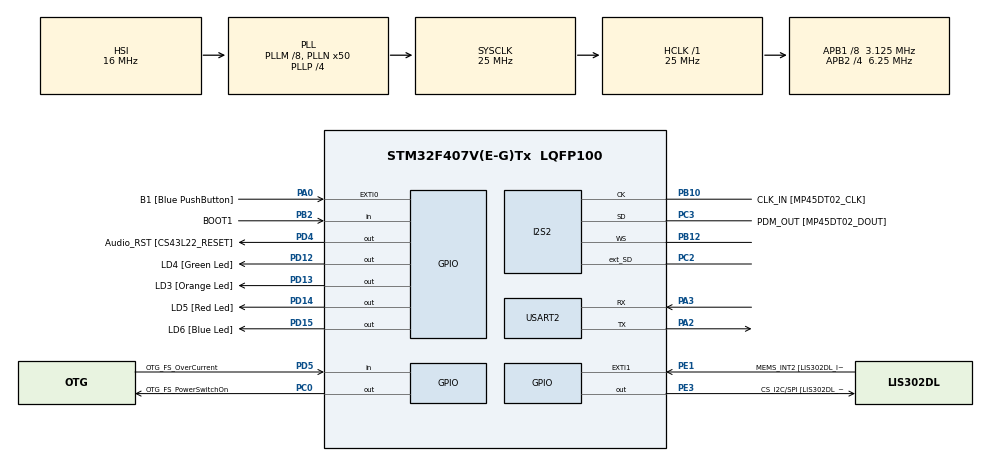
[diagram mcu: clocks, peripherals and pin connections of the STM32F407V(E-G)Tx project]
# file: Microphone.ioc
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I2S2.AudioFreq=I2S_AUDIOFREQ_32K
I2S2.ErrorAudioFreq=-0.26 %
I2S2.FullDuplexMode=I2S_FULLDUPLEXMODE_ENABLE
I2S2.Mode=I2S_MODE_MASTER_RX
I2S2.RealAudioFreq=31.914 KHz
Mcu.Family=STM32F4
Mcu.Name=STM32F407V(E-G)Tx
Mcu.Package=LQFP100
NVIC.PriorityGroup=NVIC_PRIORITYGROUP_0
NVIC.SPI2_IRQn=true\:0\:0\:false\:false\:true
PA0-WKUP.GPIO_Label=B1 [Blue PushButton]
PA0-WKUP.GPIO_ModeDefaultEXTI=GPIO_MODE_EVT_RISING
PA0-WKUP.GPIO_PuPd=GPIO_NOPULL
PA0-WKUP.Signal=GPXTI0
PA10.GPIO_Label=OTG_FS_ID
PA10.GPIO_Mode=GPIO_MODE_AF_PP
PA10.GPIO_PuPd=GPIO_NOPULL
PA10.GPIO_Speed=GPIO_SPEED_FREQ_LOW
PA10.Signal=USB_OTG_FS_ID
PA11.GPIO_Label=OTG_FS_DM
PA11.GPIO_Mode=GPIO_MODE_AF_PP
PA11.GPIO_PuPd=GPIO_NOPULL
PA11.GPIO_Speed=GPIO_SPEED_FREQ_LOW
PA11.Signal=USB_OTG_FS_DM
PA12.GPIO_Label=OTG_FS_DP
PA12.GPIO_Mode=GPIO_MODE_AF_PP
PA12.GPIO_PuPd=GPIO_NOPULL
PA12.GPIO_Speed=GPIO_SPEED_FREQ_LOW
PA12.Signal=USB_OTG_FS_DP
PA13.GPIO_Label=SWDIO
PA13.Signal=SYS_JTMS-SWDIO
PA14.GPIO_Label=SWCLK
PA14.Signal=SYS_JTCK-SWCLK
PA2.Mode=Asynchronous
PA2.Signal=USART2_TX
PA3.Mode=Asynchronous
PA3.Signal=USART2_RX
PA4.GPIO_Label=I2S3_WS [CS43L22_LRCK]
PA4.GPIO_Mode=GPIO_MODE_AF_PP
PA4.GPIO_PuPd=GPIO_NOPULL
PA4.GPIO_Speed=GPIO_SPEED_FREQ_LOW
PA4.Signal=I2S3_WS
PA5.GPIO_Label=SPI1_SCK [LIS302DL_SCL/SPC]
PA5.GPIO_Mode=GPIO_MODE_AF_PP
PA5.GPIO_PuPd=GPIO_NOPULL
PA5.GPIO_Speed=GPIO_SPEED_FREQ_LOW
PA5.Signal=SPI1_SCK
PA6.GPIO_Label=SPI1_MISO [LIS302DL_SDO]
PA6.GPIO_Mode=GPIO_MODE_AF_PP
PA6.GPIO_PuPd=GPIO_NOPULL
PA6.GPIO_Speed=GPIO_SPEED_FREQ_LOW
PA6.Signal=SPI1_MISO
PA7.GPIO_Label=SPI1_MOSI [LIS302DL_SDA/SDI/SDO]
PA7.GPIO_Mode=GPIO_MODE_AF_PP
PA7.GPIO_PuPd=GPIO_NOPULL
PA7.GPIO_Speed=GPIO_SPEED_FREQ_LOW
PA7.Signal=SPI1_MOSI
PA9.GPIO_Label=VBUS_FS
PA9.GPIO_Mode=GPIO_MODE_INPUT
PA9.GPIO_PuPd=GPIO_NOPULL
PA9.Signal=USB_OTG_FS_VBUS
PB10.GPIO_Label=CLK_IN [MP45DT02_CLK]
PB10.GPIO_Mode=GPIO_MODE_AF_PP
PB10.GPIO_PuPd=GPIO_NOPULL
PB10.GPIO_Speed=GPIO_SPEED_FREQ_LOW
PB10.Mode=Full_Duplex_Master
PB10.Signal=I2S2_CK
PB12.Mode=Full_Duplex_Master
PB12.Signal=I2S2_WS
PB2.GPIO_Label=BOOT1
PB2.GPIO_Mode=GPIO_MODE_INPUT
PB2.GPIO_PuPd=GPIO_NOPULL
PB2.Signal=GPIO_Input
PB3.GPIO_Label=SWO
PB3.Signal=SYS_JTDO-SWO
PB6.GPIO_Label=Audio_SCL [CS43L22_SCL]
PB6.GPIO_Mode=GPIO_MODE_AF_OD
PB6.GPIO_PuPd=GPIO_NOPULL
PB6.GPIO_Speed=GPIO_SPEED_FREQ_LOW
PB6.Signal=I2C1_SCL
PB9.GPIO_Label=Audio_SDA [CS43L22_SDA]
PB9.GPIO_Mode=GPIO_MODE_AF_OD
PB9.GPIO_PuPd=GPIO_NOPULL
PB9.GPIO_Speed=GPIO_SPEED_FREQ_LOW
PB9.Signal=I2C1_SDA
PC0.GPIO_Label=OTG_FS_PowerSwitchOn
PC0.GPIO_PuPd=GPIO_NOPULL
PC0.GPIO_Speed=GPIO_SPEED_FREQ_LOW
PC0.PinState=GPIO_PIN_SET
PC0.Signal=GPIO_Output
PC10.GPIO_Label=I2S3_SCK [CS43L22_SCLK]
PC10.GPIO_Mode=GPIO_MODE_AF_PP
PC10.GPIO_PuPd=GPIO_NOPULL
PC10.GPIO_Speed=GPIO_SPEED_FREQ_LOW
PC10.Signal=I2S3_CK
PC12.GPIO_Label=I2S3_SD [CS43L22_SDIN]
PC12.GPIO_Mode=GPIO_MODE_AF_PP
PC12.GPIO_PuPd=GPIO_NOPULL
PC12.GPIO_Speed=GPIO_SPEED_FREQ_LOW
PC12.Signal=I2S3_SD
PC14-OSC32_IN.GPIO_Label=PC14-OSC32_IN
PC14-OSC32_IN.Signal=RCC_OSC32_IN
PC15-OSC32_OUT.GPIO_Label=PC15-OSC32_OUT
PC15-OSC32_OUT.Signal=RCC_OSC32_OUT
PC2.Mode=Full_Duplex_Master
PC2.Signal=I2S2_ext_SD
PC3.GPIO_Label=PDM_OUT [MP45DT02_DOUT]
PC3.GPIO_Mode=GPIO_MODE_AF_PP
PC3.GPIO_PuPd=GPIO_NOPULL
PC3.GPIO_Speed=GPIO_SPEED_FREQ_LOW
PC3.Mode=Full_Duplex_Master
PC3.Signal=I2S2_SD
PC7.GPIO_Label=I2S3_MCK [CS43L22_MCLK]
PC7.GPIO_Mode=GPIO_MODE_AF_PP
PC7.GPIO_PuPd=GPIO_NOPULL
PC7.GPIO_Speed=GPIO_SPEED_FREQ_LOW
PC7.Signal=I2S3_MCK
PD12.GPIO_Label=LD4 [Green Led]
PD12.GPIO_PuPd=GPIO_NOPULL
PD12.GPIO_Speed=GPIO_SPEED_FREQ_LOW
PD12.Signal=GPIO_Output
PD13.GPIO_Label=LD3 [Orange Led]
PD13.GPIO_PuPd=GPIO_NOPULL
PD13.GPIO_Speed=GPIO_SPEED_FREQ_LOW
PD13.Signal=GPIO_Output
PD14.GPIO_Label=LD5 [Red Led]
PD14.GPIO_PuPd=GPIO_NOPULL
PD14.GPIO_Speed=GPIO_SPEED_FREQ_LOW
PD14.Signal=GPIO_Output
PD15.GPIO_Label=LD6 [Blue Led]
PD15.GPIO_PuPd=GPIO_NOPULL
PD15.GPIO_Speed=GPIO_SPEED_FREQ_LOW
PD15.Signal=GPIO_Output
PD4.GPIO_Label=Audio_RST [CS43L22_RESET]
PD4.GPIO_PuPd=GPIO_NOPULL
PD4.GPIO_Speed=GPIO_SPEED_FREQ_LOW
PD4.Signal=GPIO_Output
PD5.GPIO_Label=OTG_FS_OverCurrent
PD5.GPIO_Mode=GPIO_MODE_INPUT
PD5.GPIO_PuPd=GPIO_NOPULL
PD5.Signal=GPIO_Input
PE1.GPIO_Label=MEMS_INT2 [LIS302DL_INT2]
PE1.GPIO_ModeDefaultEXTI=GPIO_MODE_EVT_RISING
PE1.GPIO_PuPd=GPIO_NOPULL
PE1.Signal=GPXTI1
PE3.GPIO_Label=CS_I2C/SPI [LIS302DL_CS_I2C/SPI]
PE3.GPIO_PuPd=GPIO_NOPULL
PE3.GPIO_Speed=GPIO_SPEED_FREQ_LOW
PE3.Signal=GPIO_Output
PH0-OSC_IN.GPIO_Label=PH0-OSC_IN
PH0-OSC_IN.Signal=RCC_OSC_IN
PH1-OSC_OUT.GPIO_Label=PH1-OSC_OUT
PH1-OSC_OUT.Signal=RCC_OSC_OUT
ProjectManager.HeapSize=0x200
ProjectManager.StackSize=0x400
ProjectManager.TargetToolchain=SW4STM32
RCC.48MHZClocksFreq_Value=14285714.285714285
RCC.AHBFreq_Value=25000000
RCC.APB1CLKDivider=RCC_HCLK_DIV8
RCC.APB1Freq_Value=3125000
RCC.APB1TimFreq_Value=6250000
RCC.APB2CLKDivider=RCC_HCLK_DIV4
RCC.APB2Freq_Value=6250000
RCC.APB2TimFreq_Value=12500000
RCC.CortexFreq_Value=25000000
RCC.HCLKFreq_Value=25000000
RCC.HSE_VALUE=8000000
RCC.HSI_VALUE=16000000
RCC.LSE_VALUE=32768
RCC.PLLM=8
RCC.PLLN=50
RCC.PLLP=RCC_PLLP_DIV4
RCC.PLLQ=7
RCC.SYSCLKFreq_VALUE=25000000
RCC.SYSCLKSource=RCC_SYSCLKSOURCE_PLLCLK
RCC.VCOOutputFreq_Value=100000000
board=STM32F4DISCOVERY

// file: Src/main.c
/**
  ******************************************************************************
  * File Name          : main.c
  * Description        : Main program body
  ******************************************************************************
  *
  * COPYRIGHT(c) 2016 STMicroelectronics
  *
  * Redistribution and use in source and binary forms, with or without modification,
  * are permitted provided that the following conditions are met:
  *   1. Redistributions of source code must retain the above copyright notice,
  *      this list of conditions and the following disclaimer.
  *   2. Redistributions in binary form must reproduce the above copyright notice,
  *      this list of conditions and the following disclaimer in the documentation
  *      and/or other materials provided with the distribution.
  *   3. Neither the name of STMicroelectronics nor the names of its contributors
  *      may be used to endorse or promote products derived from this software
  *      without specific prior written permission.
  *
  * THIS SOFTWARE IS PROVIDED BY THE COPYRIGHT HOLDERS AND CONTRIBUTORS "AS IS"
  * AND ANY EXPRESS OR IMPLIED WARRANTIES, INCLUDING, BUT NOT LIMITED TO, THE
  * IMPLIED WARRANTIES OF MERCHANTABILITY AND FITNESS FOR A PARTICULAR PURPOSE ARE
  * DISCLAIMED. IN NO EVENT SHALL THE COPYRIGHT HOLDER OR CONTRIBUTORS BE LIABLE
  * FOR ANY DIRECT, INDIRECT, INCIDENTAL, SPECIAL, EXEMPLARY, OR CONSEQUENTIAL
  * DAMAGES (INCLUDING, BUT NOT LIMITED TO, PROCUREMENT OF SUBSTITUTE GOODS OR
  * SERVICES; LOSS OF USE, DATA, OR PROFITS; OR BUSINESS INTERRUPTION) HOWEVER
  * CAUSED AND ON ANY THEORY OF LIABILITY, WHETHER IN CONTRACT, STRICT LIABILITY,
  * OR TORT (INCLUDING NEGLIGENCE OR OTHERWISE) ARISING IN ANY WAY OUT OF THE USE
  * OF THIS SOFTWARE, EVEN IF ADVISED OF THE POSSIBILITY OF SUCH DAMAGE.
  *
  ******************************************************************************
  */
#include "main.h"
#include "stm32f4xx_hal.h"

I2S_HandleTypeDef hi2s2;

UART_HandleTypeDef huart2;

/* USER CODE BEGIN PV */
/* Private variables ---------------------------------------------------------*/

/* USER CODE END PV */

void SystemClock_Config(void);
void Error_Handler(void);
static void MX_GPIO_Init(void);
static void MX_I2S2_Init(void);
static void MX_USART2_UART_Init(void);

/* USER CODE BEGIN PFP */
/* Private function prototypes -----------------------------------------------*/

/* USER CODE END PFP */

/* USER CODE BEGIN 0 */
uint16_t pData[3500];
int base2inv[3500];
int base2[3500];
int tmp[3500];
/* USER CODE END 0 */

int main(void)
{

  /* MCU Configuration----------------------------------------------------------*/

  /* Reset of all peripherals, Initializes the Flash interface and the Systick. */
  HAL_Init();

  /* Configure the system clock */
  SystemClock_Config();

  /* Initialize all configured peripherals */
  MX_GPIO_Init();
  MX_I2S2_Init();
  MX_USART2_UART_Init();

  /* Infinite loop */
  while (1)
  {

  /* USER CODE BEGIN 3 */
	  int vol=0;
	  HAL_I2S_Receive(&hi2s2,pData, 200, 1000);//receive PDM signal

	  for (int i = 0; i < 200; i++) { //convert to base2
		for (int j = 0; j < 16; j++) {
			base2inv[j] = pData[i] % 2;
			pData[i] /=2;
		}

		//reverse (above cause 1 = 1000 I want =0001
		for (int j = 0; j < 16; j++) {
			base2[i * 16 + j] = base2inv[15 - j];
		}
	  }
	  int i =7;
	  while(i + 8 < 200*16){ //do contiguous sum
	     int keep = 0;
	     for (int j = -7; j <= 8; j++)
	      keep += base2[i + j];
	     if(keep - 8 < 0)  -(keep-8);
	     tmp[i] = keep-8;
	     i++;
	  }

	for (int i = 14; i + 16 < 50*16; i++) {
		for (int j = -7; j <= 8; j++)
			vol += tmp[i + j];
		if(vol<0) vol*-1;
	}

	while (vol > 1000){//show sound level
		 HAL_UART_Transmit(&huart2,"*",1,100);
		vol -= 1000;
	}
	 HAL_UART_Transmit(&huart2,"*\r\n",3,100);//print one * as default
  }
  /* USER CODE END 3 */

}//end main

/** System Clock Configuration
*/
void SystemClock_Config(void)
{

  RCC_OscInitTypeDef RCC_OscInitStruct;
  RCC_ClkInitTypeDef RCC_ClkInitStruct;
  RCC_PeriphCLKInitTypeDef PeriphClkInitStruct;

    /**Configure the main internal regulator output voltage
    */
  __HAL_RCC_PWR_CLK_ENABLE();

  __HAL_PWR_VOLTAGESCALING_CONFIG(PWR_REGULATOR_VOLTAGE_SCALE1);

    /**Initializes the CPU, AHB and APB busses clocks
    */
  RCC_OscInitStruct.OscillatorType = RCC_OSCILLATORTYPE_HSI;
  RCC_OscInitStruct.HSIState = RCC_HSI_ON;
  RCC_OscInitStruct.HSICalibrationValue = 16;
  RCC_OscInitStruct.PLL.PLLState = RCC_PLL_ON;
  RCC_OscInitStruct.PLL.PLLSource = RCC_PLLSOURCE_HSI;
  RCC_OscInitStruct.PLL.PLLM = 8;
  RCC_OscInitStruct.PLL.PLLN = 50;
  RCC_OscInitStruct.PLL.PLLP = RCC_PLLP_DIV4;
  RCC_OscInitStruct.PLL.PLLQ = 7;
  if (HAL_RCC_OscConfig(&RCC_OscInitStruct) != HAL_OK)
  {
    Error_Handler();
  }

    /**Initializes the CPU, AHB and APB busses clocks
    */
  RCC_ClkInitStruct.ClockType = RCC_CLOCKTYPE_HCLK|RCC_CLOCKTYPE_SYSCLK
                              |RCC_CLOCKTYPE_PCLK1|RCC_CLOCKTYPE_PCLK2;
  RCC_ClkInitStruct.SYSCLKSource = RCC_SYSCLKSOURCE_PLLCLK;
  RCC_ClkInitStruct.AHBCLKDivider = RCC_SYSCLK_DIV1;
  RCC_ClkInitStruct.APB1CLKDivider = RCC_HCLK_DIV8;
  RCC_ClkInitStruct.APB2CLKDivider = RCC_HCLK_DIV4;

  if (HAL_RCC_ClockConfig(&RCC_ClkInitStruct, FLASH_LATENCY_0) != HAL_OK)
  {
    Error_Handler();
  }

  PeriphClkInitStruct.PeriphClockSelection = RCC_PERIPHCLK_I2S;
  PeriphClkInitStruct.PLLI2S.PLLI2SN = 192;
  PeriphClkInitStruct.PLLI2S.PLLI2SR = 2;
  if (HAL_RCCEx_PeriphCLKConfig(&PeriphClkInitStruct) != HAL_OK)
  {
    Error_Handler();
  }

    /**Configure the Systick interrupt time
    */
  HAL_SYSTICK_Config(HAL_RCC_GetHCLKFreq()/1000);

    /**Configure the Systick
    */
  HAL_SYSTICK_CLKSourceConfig(SYSTICK_CLKSOURCE_HCLK);

  /* SysTick_IRQn interrupt configuration */
  HAL_NVIC_SetPriority(SysTick_IRQn, 0, 0);
}

/* I2S2 init function */
static void MX_I2S2_Init(void)
{

  hi2s2.Instance = SPI2;
  hi2s2.Init.Mode = I2S_MODE_MASTER_RX;
  hi2s2.Init.Standard = I2S_STANDARD_PHILIPS;
  hi2s2.Init.DataFormat = I2S_DATAFORMAT_16B;
  hi2s2.Init.MCLKOutput = I2S_MCLKOUTPUT_DISABLE;
  hi2s2.Init.AudioFreq = I2S_AUDIOFREQ_32K;
  hi2s2.Init.CPOL = I2S_CPOL_LOW;
  hi2s2.Init.ClockSource = I2S_CLOCK_PLL;
  hi2s2.Init.FullDuplexMode = I2S_FULLDUPLEXMODE_ENABLE;
  if (HAL_I2S_Init(&hi2s2) != HAL_OK)
  {
    Error_Handler();
  }

}

/* USART2 init function */
static void MX_USART2_UART_Init(void)
{

   huart2.Instance = USART2;
  huart2.Init.BaudRate = 115200;
  huart2.Init.WordLength = UART_WORDLENGTH_8B;
  huart2.Init.StopBits = UART_STOPBITS_1;
  huart2.Init.Parity = UART_PARITY_NONE;
  huart2.Init.Mode = UART_MODE_TX_RX;
  huart2.Init.HwFlowCtl = UART_HWCONTROL_NONE;
  huart2.Init.OverSampling = UART_OVERSAMPLING_16;
   if (HAL_UART_Init(&huart2) != HAL_OK)
  {
    Error_Handler();
  }

}

/** Configure pins as
        * Analog
        * Input
        * Output
        * EVENT_OUT
        * EXTI
     PA4   ------> I2S3_WS
     PA5   ------> SPI1_SCK
     PA6   ------> SPI1_MISO
     PA7   ------> SPI1_MOSI
     PC7   ------> I2S3_MCK
     PA9   ------> USB_OTG_FS_VBUS
     PA10   ------> USB_OTG_FS_ID
     PA11   ------> USB_OTG_FS_DM
     PA12   ------> USB_OTG_FS_DP
     PC10   ------> I2S3_CK
     PC12   ------> I2S3_SD
     PB6   ------> I2C1_SCL
     PB9   ------> I2C1_SDA
*/
static void MX_GPIO_Init(void)
{

  GPIO_InitTypeDef GPIO_InitStruct;

  /* GPIO Ports Clock Enable */
  __HAL_RCC_GPIOE_CLK_ENABLE();
  __HAL_RCC_GPIOC_CLK_ENABLE();
  __HAL_RCC_GPIOH_CLK_ENABLE();
  __HAL_RCC_GPIOA_CLK_ENABLE();
  __HAL_RCC_GPIOB_CLK_ENABLE();
  __HAL_RCC_GPIOD_CLK_ENABLE();

  /*Configure GPIO pin Output Level */
  HAL_GPIO_WritePin(CS_I2C_SPI_GPIO_Port, CS_I2C_SPI_Pin, GPIO_PIN_RESET);

  /*Configure GPIO pin Output Level */
  HAL_GPIO_WritePin(OTG_FS_PowerSwitchOn_GPIO_Port, OTG_FS_PowerSwitchOn_Pin, GPIO_PIN_SET);

  /*Configure GPIO pin Output Level */
  HAL_GPIO_WritePin(GPIOD, LD4_Pin|LD3_Pin|LD5_Pin|LD6_Pin
                          |Audio_RST_Pin, GPIO_PIN_RESET);

  /*Configure GPIO pin : CS_I2C_SPI_Pin */
  GPIO_InitStruct.Pin = CS_I2C_SPI_Pin;
  GPIO_InitStruct.Mode = GPIO_MODE_OUTPUT_PP;
  GPIO_InitStruct.Pull = GPIO_NOPULL;
  GPIO_InitStruct.Speed = GPIO_SPEED_FREQ_LOW;
  HAL_GPIO_Init(CS_I2C_SPI_GPIO_Port, &GPIO_InitStruct);

  /*Configure GPIO pin : OTG_FS_PowerSwitchOn_Pin */
  GPIO_InitStruct.Pin = OTG_FS_PowerSwitchOn_Pin;
  GPIO_InitStruct.Mode = GPIO_MODE_OUTPUT_PP;
  GPIO_InitStruct.Pull = GPIO_NOPULL;
  GPIO_InitStruct.Speed = GPIO_SPEED_FREQ_LOW;
  HAL_GPIO_Init(OTG_FS_PowerSwitchOn_GPIO_Port, &GPIO_InitStruct);

  /*Configure GPIO pin : B1_Pin */
  GPIO_InitStruct.Pin = B1_Pin;
  GPIO_InitStruct.Mode = GPIO_MODE_EVT_RISING;
  GPIO_InitStruct.Pull = GPIO_NOPULL;
  HAL_GPIO_Init(B1_GPIO_Port, &GPIO_InitStruct);

  /*Configure GPIO pin : I2S3_WS_Pin */
  GPIO_InitStruct.Pin = I2S3_WS_Pin;
  GPIO_InitStruct.Mode = GPIO_MODE_AF_PP;
  GPIO_InitStruct.Pull = GPIO_NOPULL;
  GPIO_InitStruct.Speed = GPIO_SPEED_FREQ_LOW;
  GPIO_InitStruct.Alternate = GPIO_AF6_SPI3;
  HAL_GPIO_Init(I2S3_WS_GPIO_Port, &GPIO_InitStruct);

  /*Configure GPIO pins : SPI1_SCK_Pin SPI1_MISO_Pin SPI1_MOSI_Pin */
  GPIO_InitStruct.Pin = SPI1_SCK_Pin|SPI1_MISO_Pin|SPI1_MOSI_Pin;
  GPIO_InitStruct.Mode = GPIO_MODE_AF_PP;
  GPIO_InitStruct.Pull = GPIO_NOPULL;
  GPIO_InitStruct.Speed = GPIO_SPEED_FREQ_LOW;
  GPIO_InitStruct.Alternate = GPIO_AF5_SPI1;
  HAL_GPIO_Init(GPIOA, &GPIO_InitStruct);

  /*Configure GPIO pin : BOOT1_Pin */
  GPIO_InitStruct.Pin = BOOT1_Pin;
  GPIO_InitStruct.Mode = GPIO_MODE_INPUT;
  GPIO_InitStruct.Pull = GPIO_NOPULL;
  HAL_GPIO_Init(BOOT1_GPIO_Port, &GPIO_InitStruct);

  /*Configure GPIO pins : LD4_Pin LD3_Pin LD5_Pin LD6_Pin
                           Audio_RST_Pin */
  GPIO_InitStruct.Pin = LD4_Pin|LD3_Pin|LD5_Pin|LD6_Pin
                          |Audio_RST_Pin;
  GPIO_InitStruct.Mode = GPIO_MODE_OUTPUT_PP;
  GPIO_InitStruct.Pull = GPIO_NOPULL;
  GPIO_InitStruct.Speed = GPIO_SPEED_FREQ_LOW;
  HAL_GPIO_Init(GPIOD, &GPIO_InitStruct);

  /*Configure GPIO pins : I2S3_MCK_Pin I2S3_SCK_Pin I2S3_SD_Pin */
  GPIO_InitStruct.Pin = I2S3_MCK_Pin|I2S3_SCK_Pin|I2S3_SD_Pin;
  GPIO_InitStruct.Mode = GPIO_MODE_AF_PP;
  GPIO_InitStruct.Pull = GPIO_NOPULL;
  GPIO_InitStruct.Speed = GPIO_SPEED_FREQ_LOW;
  GPIO_InitStruct.Alternate = GPIO_AF6_SPI3;
  HAL_GPIO_Init(GPIOC, &GPIO_InitStruct);

  /*Configure GPIO pin : VBUS_FS_Pin */
  GPIO_InitStruct.Pin = VBUS_FS_Pin;
  GPIO_InitStruct.Mode = GPIO_MODE_INPUT;
  GPIO_InitStruct.Pull = GPIO_NOPULL;
  HAL_GPIO_Init(VBUS_FS_GPIO_Port, &GPIO_InitStruct);

  /*Configure GPIO pins : OTG_FS_ID_Pin OTG_FS_DM_Pin OTG_FS_DP_Pin */
  GPIO_InitStruct.Pin = OTG_FS_ID_Pin|OTG_FS_DM_Pin|OTG_FS_DP_Pin;
  GPIO_InitStruct.Mode = GPIO_MODE_AF_PP;
  GPIO_InitStruct.Pull = GPIO_NOPULL;
  GPIO_InitStruct.Speed = GPIO_SPEED_FREQ_LOW;
  GPIO_InitStruct.Alternate = GPIO_AF10_OTG_FS;
  HAL_GPIO_Init(GPIOA, &GPIO_InitStruct);

  /*Configure GPIO pin : OTG_FS_OverCurrent_Pin */
  GPIO_InitStruct.Pin = OTG_FS_OverCurrent_Pin;
  GPIO_InitStruct.Mode = GPIO_MODE_INPUT;
  GPIO_InitStruct.Pull = GPIO_NOPULL;
  HAL_GPIO_Init(OTG_FS_OverCurrent_GPIO_Port, &GPIO_InitStruct);

  /*Configure GPIO pins : Audio_SCL_Pin Audio_SDA_Pin */
  GPIO_InitStruct.Pin = Audio_SCL_Pin|Audio_SDA_Pin;
  GPIO_InitStruct.Mode = GPIO_MODE_AF_OD;
  GPIO_InitStruct.Pull = GPIO_PULLUP;
  GPIO_InitStruct.Speed = GPIO_SPEED_FREQ_LOW;
  GPIO_InitStruct.Alternate = GPIO_AF4_I2C1;
  HAL_GPIO_Init(GPIOB, &GPIO_InitStruct);

  /*Configure GPIO pin : MEMS_INT2_Pin */
  GPIO_InitStruct.Pin = MEMS_INT2_Pin;
  GPIO_InitStruct.Mode = GPIO_MODE_EVT_RISING;
  GPIO_InitStruct.Pull = GPIO_NOPULL;
  HAL_GPIO_Init(MEMS_INT2_GPIO_Port, &GPIO_InitStruct);

}

void Error_Handler(void)
{
  while(1)
  {
  }
}

/************************ (C) COPYRIGHT STMicroelectronics *****END OF FILE****/
